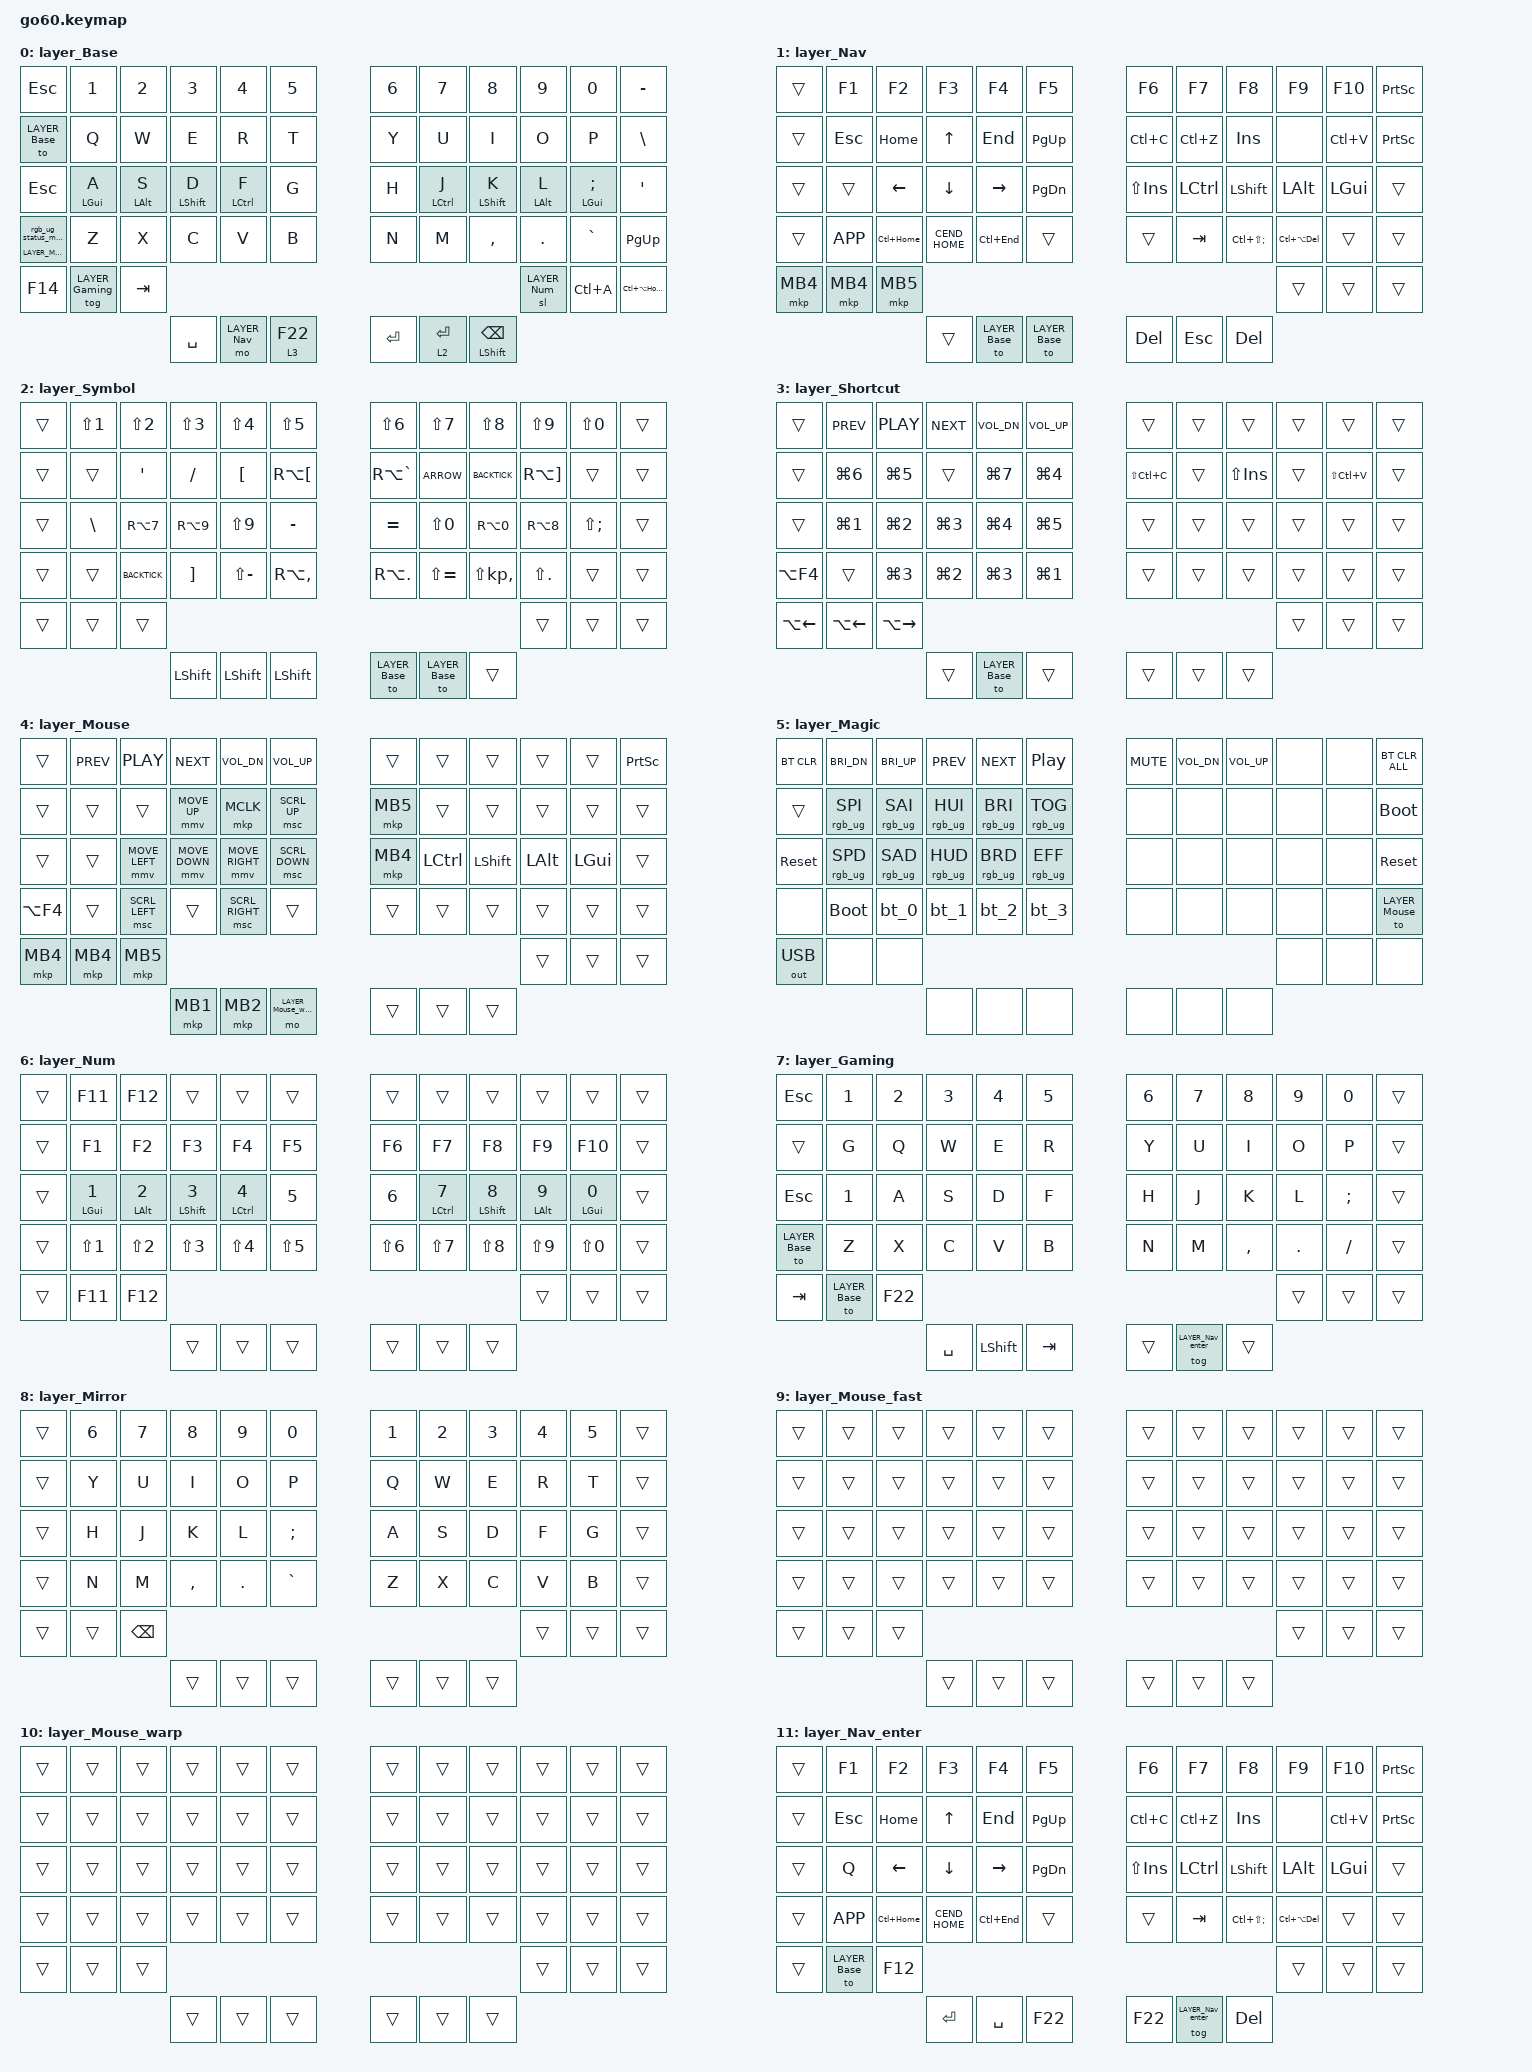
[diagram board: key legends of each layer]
/*
 * Copyright (c) 2020 The ZMK Contributors
 * Copyright (c) 2025 Innaworks Development Limited, trading as MoErgo
 *
 * SPDX-License-Identifier: MIT
 */


/* THIS FILE WAS GENERATED BY GO60 LAYOUT EDITOR
 *
 * This file was generated automatically. You may or may not want to
 * edit it directly.
 */

#include <behaviors.dtsi>

/* Include all behavior includes needed */

#include <dt-bindings/zmk/outputs.h>
#include <dt-bindings/zmk/keys.h>
#include <dt-bindings/zmk/bt.h>
#include <dt-bindings/zmk/rgb.h>

#include <input/processors.dtsi>
#include <dt-bindings/zmk/input_transform.h>
#include <zephyr/dt-bindings/input/input-event-codes.h>

/* On demand includes */
#include <dt-bindings/zmk/input_transform.h>
#include <dt-bindings/zmk/pointing.h>
#include <input/processors.dtsi>

/* Helper Macros, based on https://github.com/urob/zmk-helpers/ */

#pragma once

#define ZMK_HELPER_STRINGIFY(x) #x

// Preprocessor mechanism to overload macros, cf. https://stackoverflow.com/a/27051616/6114651
#define VARGS_(_10, _9, _8, _7, _6, _5, _4, _3, _2, _1, N, ...) N
#define VARGS(...) VARGS_(__VA_ARGS__, 10, 9, 8, 7, 6, 5, 4, 3, 2, 1, 0)
#define CONCAT_(a, b) a##b
#define CONCAT(a, b) CONCAT_(a, b)

#define ZMK_BEHAVIOR_CORE_tap_dance  \
    compatible = "zmk,behavior-tap-dance"; \
    #binding-cells = <0>

#define ZMK_BEHAVIOR(name, type, ...) \
    name: name { \
        ZMK_BEHAVIOR_CORE_ ## type; \
        __VA_ARGS__ \
    };

#define ZMK_TAP_DANCE(name, ...) \
    ZMK_BEHAVIOR(name, tap_dance, __VA_ARGS__)

#define ZMK_TD_LAYER(name, layer) \
    ZMK_TAP_DANCE(name, \
        tapping-term-ms = <200>; \
        bindings = <&mo layer>, <&to layer>; \
)





/* Key positions */

#define POS_LH_C6R1 0
#define POS_LH_C5R1 1
#define POS_LH_C4R1 2
#define POS_LH_C3R1 3
#define POS_LH_C2R1 4
#define POS_LH_C1R1 5
#define POS_RH_C1R1 6
#define POS_RH_C2R1 7
#define POS_RH_C3R1 8
#define POS_RH_C4R1 9
#define POS_RH_C5R1 10
#define POS_RH_C6R1 11
#define POS_LH_C6R2 12
#define POS_LH_C5R2 13
#define POS_LH_C4R2 14
#define POS_LH_C3R2 15
#define POS_LH_C2R2 16
#define POS_LH_C1R2 17
#define POS_RH_C1R2 18
#define POS_RH_C2R2 19
#define POS_RH_C3R2 20
#define POS_RH_C4R2 21
#define POS_RH_C5R2 22
#define POS_RH_C6R2 23
#define POS_LH_C6R3 24
#define POS_LH_C5R3 25
#define POS_LH_C4R3 26
#define POS_LH_C3R3 27
#define POS_LH_C2R3 28
#define POS_LH_C1R3 29
#define POS_RH_C1R3 30
#define POS_RH_C2R3 31
#define POS_RH_C3R3 32
#define POS_RH_C4R3 33
#define POS_RH_C5R3 34
#define POS_RH_C6R3 35
#define POS_LH_C6R4 36
#define POS_LH_C5R4 37
#define POS_LH_C4R4 38
#define POS_LH_C3R4 39
#define POS_LH_C2R4 40
#define POS_LH_C1R4 41
#define POS_RH_C1R4 42
#define POS_RH_C2R4 43
#define POS_RH_C3R4 44
#define POS_RH_C4R4 45
#define POS_RH_C5R4 46
#define POS_RH_C6R4 47
#define POS_LH_C4R5 48
#define POS_LH_C3R5 49
#define POS_LH_C2R5 50
#define POS_RH_C2R5 51
#define POS_RH_C3R5 52
#define POS_RH_C4R5 53
#define POS_LH_T1 54
#define POS_LH_T2 55
#define POS_LH_T3 56
#define POS_RH_T3 57
#define POS_RH_T2 58
#define POS_RH_T1 59


#define LEFT_HAND_KEYS \
  POS_LH_C1R1 POS_LH_C2R1 POS_LH_C3R1 POS_LH_C4R1 POS_LH_C5R1 POS_LH_C6R1 \
  POS_LH_C1R2 POS_LH_C2R2 POS_LH_C3R2 POS_LH_C4R2 POS_LH_C5R2 POS_LH_C6R2 \
  POS_LH_C1R3 POS_LH_C2R3 POS_LH_C3R3 POS_LH_C4R3 POS_LH_C5R3 POS_LH_C6R3 \
  POS_LH_C1R4 POS_LH_C2R4 POS_LH_C3R4 POS_LH_C4R4 POS_LH_C5R4 POS_LH_C6R4 \
              POS_LH_C2R5 POS_LH_C3R5 POS_LH_C4R5

#define RIGHT_HAND_KEYS \
  POS_RH_C1R1 POS_RH_C2R1 POS_RH_C3R1 POS_RH_C4R1 POS_RH_C5R1 POS_RH_C6R1 \
  POS_RH_C1R2 POS_RH_C2R2 POS_RH_C3R2 POS_RH_C4R2 POS_RH_C5R2 POS_RH_C6R2 \
  POS_RH_C1R3 POS_RH_C2R3 POS_RH_C3R3 POS_RH_C4R3 POS_RH_C5R3 POS_RH_C6R3 \
  POS_RH_C1R4 POS_RH_C2R4 POS_RH_C3R4 POS_RH_C4R4 POS_RH_C5R4 POS_RH_C6R4 \
              POS_RH_C2R5 POS_RH_C3R5 POS_RH_C4R5

#define THUMB_KEYS \
  POS_LH_T1 POS_LH_T2 POS_LH_T3 \
  POS_RH_T1 POS_RH_T2 POS_RH_T3

/* Environment and metadata defines */
#define KB_TYPE_GLOVE_80 1
#define KB_TYPE_GO_60    2

#define KB_TYPE          KB_TYPE_GO_60
#define EDITOR_HOST_OS   'L'

/* Automatically generated layer name defines */
#define LAYER_Base 0
#define LAYER_Nav 1
#define LAYER_Symbol 2
#define LAYER_Shortcut 3
#define LAYER_Mouse 4
#define LAYER_Magic 5
#define LAYER_Num 6
#define LAYER_Gaming 7
#define LAYER_Mirror 8
#define LAYER_Mouse_fast 9
#define LAYER_Mouse_warp 10
#define LAYER_Nav_enter 11

/* To deal with the situation where there is no Lower layer, to keep &lower happy */
#ifndef LAYER_Lower
#define LAYER_Lower 0
#endif

/* Generated input processors */
/ {
    input_processors {
        zip_click_to_right_click_mapper: zip_click_to_right_click_mapper {
            compatible = "zmk,input-processor-code-mapper";
            #input-processor-cells = <0>;
            type = <INPUT_EV_KEY>;
            map = <INPUT_BTN_0 INPUT_BTN_1>;
        };
    };
};

/* Custom Device-tree */


/* Input Listeners */
&mmv_input_listener {
    Mouse_fast {
        layers = <LAYER_Mouse_fast>;
        input-processors = <&zip_xy_scaler 3 1>;
    };
    Mouse_warp {
        layers = <LAYER_Mouse_warp>;
        input-processors = <&zip_xy_scaler 12 1>;
    };
};

&msc_input_listener {
    Mouse_fast {
        layers = <LAYER_Mouse_fast>;
        input-processors = <&zip_scroll_scaler 3 1>;
    };
    Mouse_warp {
        layers = <LAYER_Mouse_warp>;
        input-processors = <&zip_scroll_scaler 12 1>;
    };
};

&cirque_lh_listener {
    input-processors = <&zip_xy_scaler 1 5>, <&zip_xy_transform INPUT_TRANSFORM_Y_INVERT>, <&zip_xy_to_scroll_mapper>, <&zip_click_to_right_click_mapper>;
    layer_Nav {
        layers = <LAYER_Nav>;
        input-processors = <&zip_xy_scaler 2 5>, <&zip_xy_transform INPUT_TRANSFORM_Y_INVERT>, <&zip_xy_to_scroll_mapper>, <&zip_click_to_right_click_mapper>;
    };
};

&cirque_rh_listener {
    input-processors = <&zip_xy_scaler 3 2>;
    layer_Nav {
        layers = <LAYER_Nav>;
        input-processors = <&zip_xy_scaler 3 1>;
    };
};

/* System behavior and macros */
/ {
    behaviors {
        ZMK_TD_LAYER(lower, LAYER_Lower)
    };
};

/ {
    macros {
        rgb_ug_status_macro: rgb_ug_status_macro {
            label = "RGB_UG_STATUS";
            compatible = "zmk,behavior-macro";
            #binding-cells = <0>;
            bindings
                = <&rgb_ug RGB_STATUS>;
        };
    };
};

/ {
#ifdef BT_DISC_CMD
    behaviors {
        bt_0: bt_0 {
            compatible = "zmk,behavior-tap-dance";
            label = "BT_0";
            #binding-cells = <0>;
            tapping-term-ms = <200>;
            bindings = <&bt_select_0>, <&bt BT_DISC 0>;
        };
        bt_1: bt_1 {
            compatible = "zmk,behavior-tap-dance";
            label = "BT_1";
            #binding-cells = <0>;
            tapping-term-ms = <200>;
            bindings = <&bt_select_1>, <&bt BT_DISC 1>;
        };
        bt_2: bt_2 {
            compatible = "zmk,behavior-tap-dance";
            label = "BT_2";
            #binding-cells = <0>;
            tapping-term-ms = <200>;
            bindings = <&bt_select_2>, <&bt BT_DISC 2>;
        };
        bt_3: bt_3 {
            compatible = "zmk,behavior-tap-dance";
            label = "BT_3";
            #binding-cells = <0>;
            tapping-term-ms = <200>;
            bindings = <&bt_select_3>, <&bt BT_DISC 3>;
        };
    };
    macros {
        bt_select_0: bt_select_0 {
            label = "BT_SELECT_0";
            compatible = "zmk,behavior-macro";
            #binding-cells = <0>;
            bindings
                = <&out OUT_BLE>,
                  <&bt BT_SEL 0>;
        };
        bt_select_1: bt_select_1 {
            label = "BT_SELECT_1";
            compatible = "zmk,behavior-macro";
            #binding-cells = <0>;
            bindings
                = <&out OUT_BLE>,
                  <&bt BT_SEL 1>;
        };
        bt_select_2: bt_select_2 {
            label = "BT_SELECT_2";
            compatible = "zmk,behavior-macro";
            #binding-cells = <0>;
            bindings
                = <&out OUT_BLE>,
                  <&bt BT_SEL 2>;
        };
        bt_select_3: bt_select_3 {
            label = "BT_SELECT_3";
            compatible = "zmk,behavior-macro";
            #binding-cells = <0>;
            bindings
                = <&out OUT_BLE>,
                  <&bt BT_SEL 3>;
        };
    };
#else
    macros {
        bt_0: bt_0 {
            label = "BT_0";
            compatible = "zmk,behavior-macro";
            #binding-cells = <0>;
            bindings
                = <&out OUT_BLE>,
                  <&bt BT_SEL 0>;
        };
        bt_1: bt_1 {
            label = "BT_1";
            compatible = "zmk,behavior-macro";
            #binding-cells = <0>;
            bindings
                = <&out OUT_BLE>,
                  <&bt BT_SEL 1>;
        };
        bt_2: bt_2 {
            label = "BT_2";
            compatible = "zmk,behavior-macro";
            #binding-cells = <0>;
            bindings
                = <&out OUT_BLE>,
                  <&bt BT_SEL 2>;
        };
        bt_3: bt_3 {
            label = "BT_3";
            compatible = "zmk,behavior-macro";
            #binding-cells = <0>;
            bindings
                = <&out OUT_BLE>,
                  <&bt BT_SEL 3>;
        };
    };
#endif
};

/ {
    behaviors {
        magic: magic {
            compatible = "zmk,behavior-hold-tap";
            label = "MAGIC_HOLD_TAP";
            #binding-cells = <2>;
            flavor = "tap-preferred";
            tapping-term-ms = <200>;
            bindings = <&mo>, <&rgb_ug_status_macro>;
        };
    };
};


/* Custom Defined Behaviors */
/ {
#include <dt-bindings/zmk/behaviors.h>

behaviors {
        mt: mod_tap {
            compatible = "zmk,behavior-hold-tap";
            #binding-cells = <2>;
            flavor = "tap-preferred";
            tapping-term-ms = <250>;
            require-prior-idle-ms = <125>;
            bindings = <&kp>, <&kp>;
            display-name = "Mod-Tap";
        };

        mo_tog: behavior_mo_tog {
            compatible = "zmk,behavior-hold-tap";
            #binding-cells = <2>;
            flavor = "hold-preferred";
            tapping-term-ms = <200>;
            bindings = <&mo>, <&tog>;
        };

        mt_hold_pref: mod_tap_prefer_hold {
            compatible = "zmk,behavior-hold-tap";
            #binding-cells = <2>;
            flavor = "hold-preferred";
            tapping-term-ms = <200>;
            quick-tap-ms = <175>;
            bindings = <&kp>, <&kp>;
            display-name = "Mod-Tap Hold pref";
        };

        lt_hold_pref: layer_tap_prefer_hold {
            compatible = "zmk,behavior-hold-tap";
            #binding-cells = <2>;
            flavor = "hold-preferred";
            tapping-term-ms = <200>;
            quick-tap-ms = <175>;
            bindings = <&mo>, <&kp>;
            display-name = "Layer-Tap Hold pref";
        };
    };
};

/* Automatically generated macro definitions */
/ {
    macros {

        // Ctrl+End, Home
        CEND_HOME: CEND_HOME {
            label = "&CEND_HOME";
            compatible = "zmk,behavior-macro";
            #binding-cells = <0>;
            bindings = <&kp LC(END)>
                , <&kp HOME>;
        };

        // ` CMS
        BACKTICK: BACKTICK {
            label = "&BACKTICK";
            compatible = "zmk,behavior-macro";
            #binding-cells = <0>;
            bindings = <&kp RA(LBKT)>
                , <&kp SPACE>;
        };

        // -> CMS
        ARROW: ARROW {
            label = "&ARROW";
            compatible = "zmk,behavior-macro";
            #binding-cells = <0>;
            bindings = <&kp MINUS>
                , <&kp RA(DOT)>;
        };
    };
};

/* Automatically generated behavior definitions */
/ {
    behaviors {


    };
};

/* Automatically generated combos definitions */


/* Automatically generated keymap */
/ {
    keymap {
        compatible = "zmk,keymap";


        layer_Base {
            bindings = <
              &kp ESC      &kp N1      &kp N2             &kp N3       &kp N4  &kp N5                                                                                                                &kp N6         &kp N7       &kp N8            &kp N9         &kp N0  &kp MINUS
       &to LAYER_Base       &kp Q       &kp W              &kp E        &kp R   &kp T                                                                                                                 &kp Y          &kp U        &kp I             &kp O          &kp P   &kp BSLH
              &kp ESC  &mt LGUI A  &mt LALT S        &mt LSHFT D  &mt LCTRL F   &kp G                                                                                                                 &kp H    &mt LCTRL J  &mt LSHFT K        &mt LALT L  &mt LGUI SEMI    &kp SQT
 &magic LAYER_Magic 0       &kp Z       &kp X              &kp C        &kp V   &kp B                                                                                                                 &kp N          &kp M    &kp COMMA           &kp DOT      &kp GRAVE  &kp PG_UP
                                      &kp F14  &tog LAYER_Gaming      &kp TAB                                                                                                                                &sl LAYER_Num    &kp LC(A)  &kp LC(LA(HOME))
                                                                                       &kp SPACE  &mo LAYER_Nav  &lt_hold_pref 3 F22  &kp RET  &lt_hold_pref 2 ENTER  &mt_hold_pref LSHFT BACKSPACE
            >;
        };

        layer_Nav {
            bindings = <
 &trans     &kp F1          &kp F2          &kp F3           &kp F4     &kp F5                                                                          &kp F6     &kp F7            &kp F8           &kp F9    &kp F10  &kp PSCRN
 &trans    &kp ESC        &kp HOME    &kp UP_ARROW          &kp END  &kp PG_UP                                                                       &kp LC(C)  &kp LC(Z)           &kp INS            &none  &kp LC(V)  &kp PSCRN
 &trans     &trans  &kp LEFT_ARROW  &kp DOWN_ARROW  &kp RIGHT_ARROW  &kp PG_DN                                                                     &kp LS(INS)  &kp LCTRL         &kp LSHFT         &kp LALT   &kp LGUI     &trans
 &trans  &kp K_APP    &kp LC(HOME)      &CEND_HOME      &kp LC(END)     &trans                                                                          &trans    &kp TAB  &kp LC(LS(SEMI))  &kp LC(LA(DEL))     &trans     &trans
                          &mkp MB4        &mkp MB4         &mkp MB5                                                                                                &trans            &trans           &trans
                                                                                &trans  &to LAYER_Base  &to LAYER_Base  &kp DEL  &kp ESC  &kp DEL
            >;
        };

        layer_Symbol {
            bindings = <
 &trans  &kp LS(N1)  &kp LS(N2)  &kp LS(N3)     &kp LS(N4)     &kp LS(N5)                                                                              &kp LS(N6)     &kp LS(N7)        &kp LS(N8)    &kp LS(N9)    &kp LS(N0)  &trans
 &trans      &trans     &kp SQT    &kp FSLH       &kp LBKT   &kp RA(LBKT)                                                                           &kp RA(GRAVE)         &ARROW         &BACKTICK  &kp RA(RBKT)        &trans  &trans
 &trans    &kp BSLH  &kp RA(N7)  &kp RA(N9)     &kp LS(N9)      &kp MINUS                                                                               &kp EQUAL     &kp LS(N0)        &kp RA(N0)    &kp RA(N8)  &kp LS(SEMI)  &trans
 &trans      &trans   &BACKTICK    &kp RBKT  &kp LS(MINUS)  &kp RA(COMMA)                                                                             &kp RA(DOT)  &kp LS(EQUAL)  &kp LS(KP_COMMA)   &kp LS(DOT)        &trans  &trans
                         &trans      &trans         &trans                                                                                                                &trans            &trans        &trans
                                                                           &kp LSHFT  &kp LSHFT  &kp LSHFT  &to LAYER_Base  &to LAYER_Base  &trans
            >;
        };

        layer_Shortcut {
            bindings = <
     &trans  &kp C_PREV    &kp C_PLAY    &kp C_NEXT   &kp C_VOL_DN  &kp C_VOL_UP                                                                 &trans  &trans       &trans  &trans         &trans  &trans
     &trans  &kp LG(N6)    &kp LG(N5)        &trans     &kp LG(N7)    &kp LG(N4)                                                          &kp LS(LC(C))  &trans  &kp LS(INS)  &trans  &kp LS(LC(V))  &trans
     &trans  &kp LG(N1)    &kp LG(N2)    &kp LG(N3)     &kp LG(N4)    &kp LG(N5)                                                                 &trans  &trans       &trans  &trans         &trans  &trans
 &kp LA(F4)      &trans    &kp LG(N3)    &kp LG(N2)     &kp LG(N3)    &kp LG(N1)                                                                 &trans  &trans       &trans  &trans         &trans  &trans
                         &kp LA(LEFT)  &kp LA(LEFT)  &kp LA(RIGHT)                                                                                       &trans       &trans  &trans
                                                                                  &trans  &to LAYER_Base  &trans  &trans  &trans  &trans
            >;
        };

        layer_Mouse {
            bindings = <
     &trans  &kp C_PREV      &kp C_PLAY      &kp C_NEXT     &kp C_VOL_DN    &kp C_VOL_UP                                                                      &trans     &trans     &trans    &trans    &trans  &kp PSCRN
     &trans      &trans          &trans    &mmv MOVE_UP        &mkp MCLK    &msc SCRL_UP                                                                    &mkp MB5     &trans     &trans    &trans    &trans     &trans
     &trans      &trans  &mmv MOVE_LEFT  &mmv MOVE_DOWN  &mmv MOVE_RIGHT  &msc SCRL_DOWN                                                                    &mkp MB4  &kp LCTRL  &kp LSHFT  &kp LALT  &kp LGUI     &trans
 &kp LA(F4)      &trans  &msc SCRL_LEFT          &trans  &msc SCRL_RIGHT          &trans                                                                      &trans     &trans     &trans    &trans    &trans     &trans
                               &mkp MB4        &mkp MB4         &mkp MB5                                                                                                 &trans     &trans    &trans
                                                                                          &mkp MB1  &mkp MB2  &mo LAYER_Mouse_warp  &trans  &trans  &trans
            >;
        };

        layer_Magic {
            bindings = <
 &bt BT_CLR     &kp C_BRI_DN     &kp C_BRI_UP       &kp C_PREV       &kp C_NEXT         &kp C_PP                                                  &kp C_MUTE  &kp C_VOL_DN  &kp C_VOL_UP   &none   &none   &bt BT_CLR_ALL
     &trans  &rgb_ug RGB_SPI  &rgb_ug RGB_SAI  &rgb_ug RGB_HUI  &rgb_ug RGB_BRI  &rgb_ug RGB_TOG                                                       &none         &none         &none   &none   &none      &bootloader
 &sys_reset  &rgb_ug RGB_SPD  &rgb_ug RGB_SAD  &rgb_ug RGB_HUD  &rgb_ug RGB_BRD  &rgb_ug RGB_EFF                                                       &none         &none         &none   &none   &none       &sys_reset
      &none      &bootloader            &bt_0            &bt_1            &bt_2            &bt_3                                                       &none         &none         &none   &none   &none  &to LAYER_Mouse
                                 &out OUT_USB            &none            &none                                                                                      &none         &none   &none
                                                                                                   &none   &none   &none   &none   &none   &none
            >;
        };

        layer_Num {
            bindings = <
 &trans      &kp F11      &kp F12        &trans        &trans      &trans                                                      &trans        &trans        &trans       &trans       &trans  &trans
 &trans       &kp F1       &kp F2        &kp F3        &kp F4      &kp F5                                                      &kp F6        &kp F7        &kp F8       &kp F9      &kp F10  &trans
 &trans  &mt LGUI N1  &mt LALT N2  &mt LSHFT N3  &mt LCTRL N4      &kp N5                                                      &kp N6  &mt LCTRL N7  &mt LSHFT N8  &mt LALT N9  &mt LGUI N0  &trans
 &trans   &kp LS(N1)   &kp LS(N2)    &kp LS(N3)    &kp LS(N4)  &kp LS(N5)                                                  &kp LS(N6)    &kp LS(N7)    &kp LS(N8)   &kp LS(N9)   &kp LS(N0)  &trans
                           &trans       &kp F11       &kp F12                                                                                &trans        &trans       &trans
                                                                           &trans  &trans  &trans  &trans  &trans  &trans
            >;
        };

        layer_Gaming {
            bindings = <
        &kp ESC  &kp N1   &kp N2          &kp N3   &kp N4  &kp N5                                                                       &kp N6  &kp N7     &kp N8   &kp N9    &kp N0  &trans
         &trans   &kp G    &kp Q           &kp W    &kp E   &kp R                                                                        &kp Y   &kp U      &kp I    &kp O     &kp P  &trans
        &kp ESC  &kp N1    &kp A           &kp S    &kp D   &kp F                                                                        &kp H   &kp J      &kp K    &kp L  &kp SEMI  &trans
 &to LAYER_Base   &kp Z    &kp X           &kp C    &kp V   &kp B                                                                        &kp N   &kp M  &kp COMMA  &kp DOT  &kp FSLH  &trans
                         &kp TAB  &to LAYER_Base  &kp F22                                                                                       &trans     &trans   &trans
                                                                   &kp SPACE  &kp LSHFT  &kp TAB  &trans  &tog LAYER_Nav_enter  &trans
            >;
        };

        layer_Mirror {
            bindings = <
 &trans  &kp N6  &kp N7     &kp N8    &kp N9     &kp N0                                                  &kp N1  &kp N2  &kp N3  &kp N4  &kp N5  &trans
 &trans   &kp Y   &kp U      &kp I     &kp O      &kp P                                                   &kp Q   &kp W   &kp E   &kp R   &kp T  &trans
 &trans   &kp H   &kp J      &kp K     &kp L   &kp SEMI                                                   &kp A   &kp S   &kp D   &kp F   &kp G  &trans
 &trans   &kp N   &kp M  &kp COMMA   &kp DOT  &kp GRAVE                                                   &kp Z   &kp X   &kp C   &kp V   &kp B  &trans
                 &trans     &trans  &kp BSPC                                                                     &trans  &trans  &trans
                                                         &trans  &trans  &trans  &trans  &trans  &trans
            >;
        };

        layer_Mouse_fast {
            bindings = <
 &trans  &trans  &trans  &trans  &trans  &trans                                                  &trans  &trans  &trans  &trans  &trans  &trans
 &trans  &trans  &trans  &trans  &trans  &trans                                                  &trans  &trans  &trans  &trans  &trans  &trans
 &trans  &trans  &trans  &trans  &trans  &trans                                                  &trans  &trans  &trans  &trans  &trans  &trans
 &trans  &trans  &trans  &trans  &trans  &trans                                                  &trans  &trans  &trans  &trans  &trans  &trans
                 &trans  &trans  &trans                                                                  &trans  &trans  &trans
                                                 &trans  &trans  &trans  &trans  &trans  &trans
            >;
        };

        layer_Mouse_warp {
            bindings = <
 &trans  &trans  &trans  &trans  &trans  &trans                                                  &trans  &trans  &trans  &trans  &trans  &trans
 &trans  &trans  &trans  &trans  &trans  &trans                                                  &trans  &trans  &trans  &trans  &trans  &trans
 &trans  &trans  &trans  &trans  &trans  &trans                                                  &trans  &trans  &trans  &trans  &trans  &trans
 &trans  &trans  &trans  &trans  &trans  &trans                                                  &trans  &trans  &trans  &trans  &trans  &trans
                 &trans  &trans  &trans                                                                  &trans  &trans  &trans
                                                 &trans  &trans  &trans  &trans  &trans  &trans
            >;
        };

        layer_Nav_enter {
            bindings = <
 &trans     &kp F1          &kp F2          &kp F3           &kp F4     &kp F5                                                                            &kp F6     &kp F7            &kp F8           &kp F9    &kp F10  &kp PSCRN
 &trans    &kp ESC        &kp HOME    &kp UP_ARROW          &kp END  &kp PG_UP                                                                         &kp LC(C)  &kp LC(Z)           &kp INS            &none  &kp LC(V)  &kp PSCRN
 &trans      &kp Q  &kp LEFT_ARROW  &kp DOWN_ARROW  &kp RIGHT_ARROW  &kp PG_DN                                                                       &kp LS(INS)  &kp LCTRL         &kp LSHFT         &kp LALT   &kp LGUI     &trans
 &trans  &kp K_APP    &kp LC(HOME)      &CEND_HOME      &kp LC(END)     &trans                                                                            &trans    &kp TAB  &kp LC(LS(SEMI))  &kp LC(LA(DEL))     &trans     &trans
                            &trans  &to LAYER_Base          &kp F12                                                                                                  &trans            &trans           &trans
                                                                                &kp RET  &kp SPACE  &kp F22  &kp F22  &tog LAYER_Nav_enter  &kp DEL
            >;
        };

    };
};
